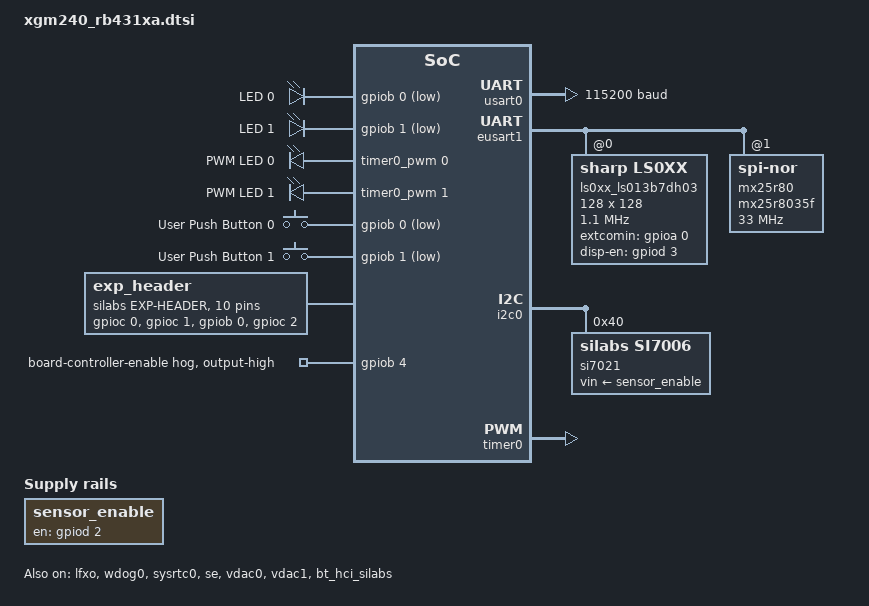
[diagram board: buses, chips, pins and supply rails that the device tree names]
/*
 * Copyright (c) 2025 Silicon Laboratories Inc.
 *
 * SPDX-License-Identifier: Apache-2.0
 */

#include <zephyr/dt-bindings/input/input-event-codes.h>
#include <zephyr/dt-bindings/pwm/pwm.h>
#include <zephyr/dt-bindings/regulator/silabs_dcdc.h>
#include "xgm240_rb431xa-pinctrl.dtsi"

/ {
	chosen {
		zephyr,bt-hci = &bt_hci_silabs;
		zephyr,code-partition = &slot0_partition;
		zephyr,console = &usart0;
		zephyr,display = &ls0xx_ls013b7dh03;
		zephyr,flash = &flash0;
		zephyr,shell-uart = &usart0;
		zephyr,sram = &sram0;
		zephyr,uart-pipe = &usart0;
	};

	aliases {
		dht0 = &si7021;
		led0 = &led0;
		led1 = &led1;
		pwm-led0 = &pwm_led0;
		pwm-led1 = &pwm_led1;
		spi-flash0 = &mx25r80;
		sw0 = &button0;
		sw1 = &button1;
		watchdog0 = &wdog0;
	};

	leds {
		compatible = "gpio-leds";

		led0: led_0 {
			gpios = <&gpiob 0 GPIO_ACTIVE_LOW>;
			label = "LED 0";
		};

		led1: led_1 {
			gpios = <&gpiob 1 GPIO_ACTIVE_LOW>;
			label = "LED 1";
		};
	};

	pwmleds {
		compatible = "pwm-leds";

		pwm_led0: pwm_led_0 {
			pwms = <&timer0_pwm 0 PWM_MSEC(20) PWM_POLARITY_INVERTED>;
			label = "PWM LED 0";
		};

		pwm_led1: pwm_led_1 {
			pwms = <&timer0_pwm 1 PWM_MSEC(20) PWM_POLARITY_INVERTED>;
			label = "PWM LED 1";
		};
	};

	buttons {
		compatible = "gpio-keys";

		button0: button_0 {
			gpios = <&gpiob 0 GPIO_ACTIVE_LOW>;
			label = "User Push Button 0";
			zephyr,code = <INPUT_KEY_0>;
		};

		button1: button_1 {
			gpios = <&gpiob 1 GPIO_ACTIVE_LOW>;
			label = "User Push Button 1";
			zephyr,code = <INPUT_KEY_1>;
		};
	};

	sensor_enable: sensor_enable {
		compatible = "regulator-fixed";
		enable-gpios = <&gpiod 2 GPIO_ACTIVE_HIGH>;
		regulator-name = "sensor_enable";
	};

	exp_header: exp-header {
		compatible = "silabs,exp-header";
		#gpio-cells = <2>;
		gpio-map = <4 0 &gpioc 0 0>,
			   <6 0 &gpioc 1 0>,
			   <7 0 &gpiob 0 0>,
			   <8 0 &gpioc 2 0>,
			   <9 0 &gpiob 1 0>,
			   <10 0 &gpioc 3 0>,
			   <12 0 &gpioa 5 0>,
			   <14 0 &gpioa 6 0>,
			   <15 0 &gpiob 2 0>,
			   <16 0 &gpiob 3 0>;
		gpio-map-mask = <0xffffffff 0x0>;
		gpio-map-pass-thru = <0x0 GPIO_DT_FLAGS_MASK>;
	};
};

&cpu0 {
	clock-frequency = <78000000>;
};

&itm {
	pinctrl-0 = <&itm_default>;
	pinctrl-names = "default";
	swo-ref-frequency = <DT_FREQ_M(78)>;
};

&lfxo {
	ctune = <44>;
	precision = <50>;
	status = "okay";
};

&hfrcodpll {
	clock-frequency = <DT_FREQ_M(78)>;
	clocks = <&hfxo>;
	dpll-autorecover;
	dpll-edge = "fall";
	dpll-lock = "phase";
	dpll-m = <1919>;
	dpll-n = <3839>;
};

&em23grpaclk {
	clocks = <&lfxo>;
};

&em4grpaclk {
	clocks = <&lfxo>;
};

&sysrtcclk {
	clocks = <&lfxo>;
};

&wdog0clk {
	clocks = <&lfxo>;
};

&wdog1clk {
	clocks = <&lfxo>;
};

&usart0 {
	current-speed = <115200>;
	pinctrl-0 = <&usart0_default>;
	pinctrl-names = "default";
	status = "okay";
};

&eusart1 {
	compatible = "silabs,eusart-spi";
	#address-cells = <1>;
	#size-cells = <0>;
	clock-frequency = <DT_FREQ_M(10)>;
	pinctrl-0 = <&eusart1_default>;
	pinctrl-names = "default";
	status = "okay";

	cs-gpios = <&gpioc 6 GPIO_ACTIVE_HIGH>, <&gpioa 4 GPIO_ACTIVE_LOW>;

	ls0xx_ls013b7dh03: ls0xx@0 {
		compatible = "sharp,ls0xx";
		reg = <0>;
		height = <128>;
		spi-max-frequency = <DT_FREQ_K(1100)>;
		width = <128>;
		extcomin-gpios = <&gpioa 0 GPIO_ACTIVE_HIGH>;
		extcomin-frequency = <60>;
		disp-en-gpios = <&gpiod 3 GPIO_ACTIVE_HIGH>;
	};

	mx25r80: mx25r8035f@1 {
		compatible = "jedec,spi-nor";
		reg = <1>;
		dpd-wakeup-sequence = <30000 20 35000>;
		has-dpd;
		jedec-id = [c2 28 14];
		mxicy,mx25r-power-mode = "low-power";
		size = <DT_SIZE_M(8)>;
		spi-max-frequency = <DT_FREQ_M(33)>;
		zephyr,pm-device-runtime-auto;
	};
};

&i2c0 {
	pinctrl-0 = <&i2c0_default>;
	pinctrl-names = "default";
	status = "okay";

	si7021: si7021@40 {
		compatible = "silabs,si7006";
		reg = <0x40>;
		vin-supply = <&sensor_enable>;
	};
};

&timer0 {
	status = "okay";

	timer0_pwm: pwm {
		pinctrl-0 = <&timer0_default>;
		pinctrl-names = "default";
		status = "okay";
	};
};

&gpio {
	status = "okay";
};

&gpioa {
	status = "okay";
};

&gpiob {
	status = "okay";

	board-controller-enable {
		gpio-hog;
		gpios = <4 GPIO_ACTIVE_HIGH>;
		output-high;
	};
};

&gpioc {
	status = "okay";
};

&gpiod {
	status = "okay";
};

&wdog0 {
	status = "okay";
};

&sysrtc0 {
	status = "okay";
};

&se {
	status = "okay";
};

&dcdc {
	regulator-boot-on;
	regulator-initial-mode = <SILABS_DCDC_MODE_BUCK>;
	status = "okay";
};

&flash0 {
	partitions {
		compatible = "fixed-partitions";
		#address-cells = <1>;
		#size-cells = <1>;

		/* Reserve 48 kB for the bootloader */
		boot_partition: partition@0 {
			reg = <0x0 DT_SIZE_K(48)>;
			label = "mcuboot";
			read-only;
		};

		/* Reserve 728 kB for the application in slot 0 */
		slot0_partition: partition@c000 {
			reg = <0x0000c000 DT_SIZE_K(728)>;
			label = "image-0";
		};

		/* Reserve 728 kB for the application in slot 1 */
		slot1_partition: partition@c2000 {
			reg = <0x000c2000 DT_SIZE_K(728)>;
			label = "image-1";
		};

		/* Set 32 kB of storage at the end of the 1536 kB of flash */
		storage_partition: partition@178000 {
			reg = <0x00178000 DT_SIZE_K(32)>;
			label = "storage";
		};
	};
};

&vdac0 {
	status = "okay";
};

&vdac1 {
	status = "okay";
};

&bt_hci_silabs {
	status = "okay";
};
